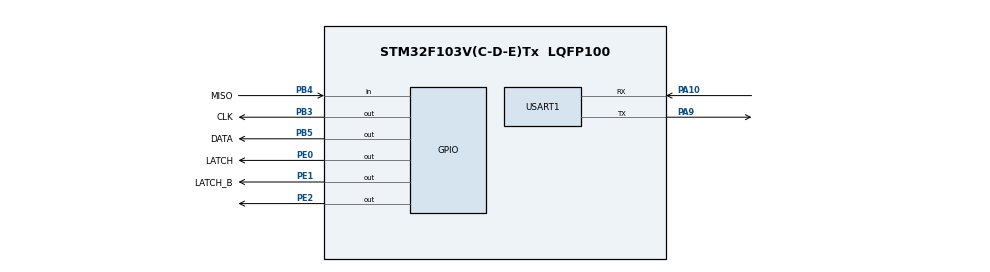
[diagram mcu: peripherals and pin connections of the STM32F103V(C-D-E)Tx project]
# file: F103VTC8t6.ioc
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Mcu.Family=STM32F1
Mcu.Name=STM32F103V(C-D-E)Tx
Mcu.Package=LQFP100
NVIC.PriorityGroup=NVIC_PRIORITYGROUP_4
NVIC.TIM2_IRQn=true\:2\:0\:true\:false\:true\:true\:true\:true
NVIC.USART1_IRQn=true\:0\:0\:false\:false\:true\:true\:true\:true
PA10.Mode=Asynchronous
PA10.Signal=USART1_RX
PA13.Mode=Serial_Wire
PA13.Signal=SYS_JTMS-SWDIO
PA14.Mode=Serial_Wire
PA14.Signal=SYS_JTCK-SWCLK
PA9.Mode=Asynchronous
PA9.Signal=USART1_TX
PB3.GPIO_Label=CLK
PB3.GPIO_Speed=GPIO_SPEED_FREQ_LOW
PB3.Signal=GPIO_Output
PB4.GPIO_Label=MISO
PB4.Signal=GPIO_Input
PB5.GPIO_Label=DATA
PB5.GPIO_Speed=GPIO_SPEED_FREQ_LOW
PB5.Signal=GPIO_Output
PE0.GPIO_Label=LATCH
PE0.GPIO_Speed=GPIO_SPEED_FREQ_LOW
PE0.Signal=GPIO_Output
PE1.GPIO_Label=LATCH_B
PE1.Signal=GPIO_Output
PE2.Signal=GPIO_Output
ProjectManager.HeapSize=0x200
ProjectManager.StackSize=0x400
ProjectManager.TargetToolchain=MDK-ARM V5.32
RCC.APB1Freq_Value=8000000
RCC.APB2Freq_Value=8000000
TIM2.Period=1999
TIM2.Prescaler=35999
USART1.VirtualMode=VM_ASYNC
VP_TIM2_VS_ClockSourceINT.Mode=Internal
board=custom

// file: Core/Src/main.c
/* USER CODE BEGIN Header */
/**
  ******************************************************************************
  * @file           : main.c
  * @brief          : Main program body
  ******************************************************************************
  * @attention
  *
  * Copyright (c) 2024 STMicroelectronics.
  * All rights reserved.
  *
  * This software is licensed under terms that can be found in the LICENSE file
  * in the root directory of this software component.
  * If no LICENSE file comes with this software, it is provided AS-IS.
  *
  ******************************************************************************
  */
/* USER CODE END Header */
#include "main.h"
#include <stdio.h>
#include <string.h>

TIM_HandleTypeDef htim2;

UART_HandleTypeDef huart1;

void SystemClock_Config(void);
static void MX_GPIO_Init(void);
static void MX_TIM2_Init(void);
static void MX_USART1_UART_Init(void);

/* USER CODE BEGIN 0 */
char button1 =0, button2 = 0 , button3 = 0 ,button4 =0 ;
char data165 = 0xFF;
static int8_t a1=0;
static int8_t a2=0;
static uint8_t seed = 0;
static uint8_t a3=3;

//------------------------------------------------------
//Ham tao so ngay nhien tu 0-9
uint8_t random_value() {
    seed = (seed * 1103515245 + 12345) % 10;
    return seed;
}

void UART_Send_Value(int value) {
    char buffer[3]; // Tao mang co kieu ky tu chua gia tri, bao gom 2 chu so và ký tu ket thúc chuoi("55 ")
    snprintf(buffer, sizeof(buffer), "%02d", value); // Format gia tri thanh chuoi(55)
    HAL_UART_Transmit(&huart1, (uint8_t *)buffer, strlen(buffer), HAL_MAX_DELAY); // Gui chuoi qua UART (55)
}

// Khai bao ham dua gia tri len Terminal may tinh.
void send_count_to_terminal(int8_t tens, int8_t ones) {
		UART_Send_Value(tens * 10 + ones); // Gui giá tri(55) qua UART
}

//Ham xuat gia tri led ra chan PB5
//Ham doc vi tri led va gia tri led--> ten ham led(doi so vi tri, doi so gia tri led)
unsigned char maled_cc[10] = {0xAF, 0xA0, 0x6E, 0xEA, 0xE1, 0xCB, 0xCF, 0xA2, 0xEF, 0xEB};
unsigned char led_position[5] = { 0x08, 0x10,0x20,0x40,0x80};  //Vi Tri Quet Led
void led(uint8_t vi_tri, uint8_t sang_led)
{
	for( uint8_t i=0; i<8;i++)
	{
		HAL_GPIO_WritePin(DATA_GPIO_Port,DATA_Pin,(led_position[vi_tri]&(0x80>>i)));

		HAL_GPIO_WritePin(GPIOB,GPIO_PIN_3, GPIO_PIN_SET);
		HAL_GPIO_WritePin(GPIOB,GPIO_PIN_3, GPIO_PIN_RESET);
	}
	for( uint8_t i=0; i<8;i++)
	{
		HAL_GPIO_WritePin(DATA_GPIO_Port,DATA_Pin,(maled_cc[sang_led]&(0x80>>i)));
		HAL_GPIO_WritePin(GPIOB,GPIO_PIN_3, GPIO_PIN_SET);
		HAL_GPIO_WritePin(GPIOB,GPIO_PIN_3, GPIO_PIN_RESET);
	}
	HAL_GPIO_WritePin(GPIOE,GPIO_PIN_0, GPIO_PIN_SET);
	HAL_GPIO_WritePin(GPIOE,GPIO_PIN_0, GPIO_PIN_RESET);
}

//Ham lay gia 8 bit doc vao tu chan PB4
	void get_data165(){
	HAL_GPIO_WritePin( LATCH_B_GPIO_Port,LATCH_B_Pin,1);
	HAL_GPIO_WritePin( LATCH_B_GPIO_Port,LATCH_B_Pin,0);
	HAL_GPIO_WritePin( LATCH_B_GPIO_Port,LATCH_B_Pin,1);
	for(uint8_t i = 0; i<=7; i++){
		if(HAL_GPIO_ReadPin( 	MISO_GPIO_Port, MISO_Pin)==0)
			data165 &=~(1<<(7-i));
		else data165 |=(1<<(7-i));

		HAL_GPIO_WritePin(GPIOB,GPIO_PIN_3, GPIO_PIN_SET);
		HAL_GPIO_WritePin(GPIOB,GPIO_PIN_3, GPIO_PIN_RESET);
	}
}

//Ham xu ly khi nhan nut.
void raise_value()
{
//Ham lua chon
	get_data165();
	//Nut nhan 2(dk_1)
	if((data165 & (1<<5)) == 0 && button2==0)
	{
		//caulenh_1.0
		button2 = 1; a1++ ;
		//dk_1.1
		if(a1==10){
			a1=0; a2++;
		}
		//dk_1.2
		if(a1 == -1) {
			a1 = 9; a2--;
		}
		//caulenh1.3
		send_count_to_terminal(a2, a1); // doi so vao a2=5, a1=5
	}
	else if((data165 & (1<<5))== (1<<5) && button2 == 1 )
	{
		button2 = 0;
	}

	//Nut nhan 3(dk_2)
	if((data165 & (1<<6)) == 0 && button3==0)
	{
		button3=1 ; a1++ ;
		if(a1==10){
			a1=0; a2++;
		}
		if(a1 == -1) {
			a1 = 9; a2--;
		}
		send_count_to_terminal(a2, a1); // doi so vao a2=5, a1=5
	}
	else if((data165 & (1<<6)) == (1<<6) && button3 == 1 )
	{
		button3=0;
	}
	//Nut nhan 4
	if((data165 & (1<<7)) == 0 && button4==0)
	{
		button4 = 1 ; a1-- ;
		if(a1==10){
			a1=0; a2++;
		}
		if(a1 == -1) {
			a1 = 9; a2--;
		}
		send_count_to_terminal(a2, a1); // doi so vao a2=5, a1=5
	}
	else if((data165 & (1<<7))== (1<<7) && button4 == 1 )
	{
		button4 = 0;
	}

////Ham lua chon
//if(a1 == 10) {
//    a1 = 0;
//    a2++;
//}
//if(a1 == -1) {
//  a1 = 9;
//	a2--;
//}

//Ham thuc thi chinh.
led(0, a2);//a2: hang chuc, a1 hang don vi
led(1, a1);// Ham tra ve led sang vi tri 0-->2, gia tri moi led tu (0-->9).

}

//Ham truyen du lieu

/* USER CODE END 0 */

int main(void)
{
  /* USER CODE BEGIN 1 */
	//khoi tao gia tri cho a1 va a2
	a1 = random_value();
  a2 = random_value();
  /* USER CODE END 1 */

  /* MCU Configuration--------------------------------------------------------*/

  /* Reset of all peripherals, Initializes the Flash interface and the Systick. */
  HAL_Init();

  /* Configure the system clock */
  SystemClock_Config();

  /* Initialize all configured peripherals */
  MX_GPIO_Init();
  MX_TIM2_Init();
  MX_USART1_UART_Init();
  /* USER CODE BEGIN 2 */
	HAL_TIM_Base_Start(&htim2);
  /* USER CODE END 2 */
  /* Infinite loop */
  /* USER CODE BEGIN WHILE */
	HAL_GPIO_WritePin(GPIOB,GPIO_PIN_3, GPIO_PIN_RESET);
	HAL_GPIO_WritePin(GPIOE,GPIO_PIN_0, GPIO_PIN_RESET);
	HAL_GPIO_WritePin(GPIOE,GPIO_PIN_2, GPIO_PIN_RESET);

  while (1)
  {
		raise_value();
    /* USER CODE END WHILE */

  }
}

void SystemClock_Config(void)
{
  RCC_OscInitTypeDef RCC_OscInitStruct = {0};
  RCC_ClkInitTypeDef RCC_ClkInitStruct = {0};

  /** Initializes the RCC Oscillators according to the specified parameters
  * in the RCC_OscInitTypeDef structure.
  */
  RCC_OscInitStruct.OscillatorType = RCC_OSCILLATORTYPE_HSI;
  RCC_OscInitStruct.HSIState = RCC_HSI_ON;
  RCC_OscInitStruct.HSICalibrationValue = RCC_HSICALIBRATION_DEFAULT;
  RCC_OscInitStruct.PLL.PLLState = RCC_PLL_NONE;
  if (HAL_RCC_OscConfig(&RCC_OscInitStruct) != HAL_OK)
  {
    Error_Handler();
  }

  /** Initializes the CPU, AHB and APB buses clocks
  */
  RCC_ClkInitStruct.ClockType = RCC_CLOCKTYPE_HCLK|RCC_CLOCKTYPE_SYSCLK
                              |RCC_CLOCKTYPE_PCLK1|RCC_CLOCKTYPE_PCLK2;
  RCC_ClkInitStruct.SYSCLKSource = RCC_SYSCLKSOURCE_HSI;
  RCC_ClkInitStruct.AHBCLKDivider = RCC_SYSCLK_DIV1;
  RCC_ClkInitStruct.APB1CLKDivider = RCC_HCLK_DIV1;
  RCC_ClkInitStruct.APB2CLKDivider = RCC_HCLK_DIV1;

  if (HAL_RCC_ClockConfig(&RCC_ClkInitStruct, FLASH_LATENCY_0) != HAL_OK)
  {
    Error_Handler();
  }
}

static void MX_TIM2_Init(void)
{

  TIM_ClockConfigTypeDef sClockSourceConfig = {0};
  TIM_MasterConfigTypeDef sMasterConfig = {0};

  htim2.Instance = TIM2;
  htim2.Init.Prescaler = 35999;
  htim2.Init.CounterMode = TIM_COUNTERMODE_UP;
  htim2.Init.Period = 1999;
  htim2.Init.ClockDivision = TIM_CLOCKDIVISION_DIV1;
  htim2.Init.AutoReloadPreload = TIM_AUTORELOAD_PRELOAD_DISABLE;
  if (HAL_TIM_Base_Init(&htim2) != HAL_OK)
  {
    Error_Handler();
  }
  sClockSourceConfig.ClockSource = TIM_CLOCKSOURCE_INTERNAL;
  if (HAL_TIM_ConfigClockSource(&htim2, &sClockSourceConfig) != HAL_OK)
  {
    Error_Handler();
  }
  sMasterConfig.MasterOutputTrigger = TIM_TRGO_RESET;
  sMasterConfig.MasterSlaveMode = TIM_MASTERSLAVEMODE_DISABLE;
  if (HAL_TIMEx_MasterConfigSynchronization(&htim2, &sMasterConfig) != HAL_OK)
  {
    Error_Handler();
  }

}

static void MX_USART1_UART_Init(void)
{

  huart1.Instance = USART1;
  huart1.Init.BaudRate = 115200;
  huart1.Init.WordLength = UART_WORDLENGTH_8B;
  huart1.Init.StopBits = UART_STOPBITS_1;
  huart1.Init.Parity = UART_PARITY_NONE;
  huart1.Init.Mode = UART_MODE_TX_RX;
  huart1.Init.HwFlowCtl = UART_HWCONTROL_NONE;
  huart1.Init.OverSampling = UART_OVERSAMPLING_16;
  if (HAL_UART_Init(&huart1) != HAL_OK)
  {
    Error_Handler();
  }

}

static void MX_GPIO_Init(void)
{
  GPIO_InitTypeDef GPIO_InitStruct = {0};

  /* GPIO Ports Clock Enable */
  __HAL_RCC_GPIOE_CLK_ENABLE();
  __HAL_RCC_GPIOA_CLK_ENABLE();
  __HAL_RCC_GPIOB_CLK_ENABLE();

  /*Configure GPIO pin Output Level */
  HAL_GPIO_WritePin(GPIOE, GPIO_PIN_2|LATCH_Pin|LATCH_B_Pin, GPIO_PIN_RESET);

  /*Configure GPIO pin Output Level */
  HAL_GPIO_WritePin(GPIOB, CLK_Pin|DATA_Pin, GPIO_PIN_RESET);

  /*Configure GPIO pins : PE2 LATCH_Pin LATCH_B_Pin */
  GPIO_InitStruct.Pin = GPIO_PIN_2|LATCH_Pin|LATCH_B_Pin;
  GPIO_InitStruct.Mode = GPIO_MODE_OUTPUT_PP;
  GPIO_InitStruct.Pull = GPIO_NOPULL;
  GPIO_InitStruct.Speed = GPIO_SPEED_FREQ_LOW;
  HAL_GPIO_Init(GPIOE, &GPIO_InitStruct);

  /*Configure GPIO pins : CLK_Pin DATA_Pin */
  GPIO_InitStruct.Pin = CLK_Pin|DATA_Pin;
  GPIO_InitStruct.Mode = GPIO_MODE_OUTPUT_PP;
  GPIO_InitStruct.Pull = GPIO_NOPULL;
  GPIO_InitStruct.Speed = GPIO_SPEED_FREQ_LOW;
  HAL_GPIO_Init(GPIOB, &GPIO_InitStruct);

  /*Configure GPIO pin : MISO_Pin */
  GPIO_InitStruct.Pin = MISO_Pin;
  GPIO_InitStruct.Mode = GPIO_MODE_INPUT;
  GPIO_InitStruct.Pull = GPIO_NOPULL;
  HAL_GPIO_Init(MISO_GPIO_Port, &GPIO_InitStruct);

}

void Error_Handler(void)
{
  __disable_irq();
  while (1)
  {
  }
}
